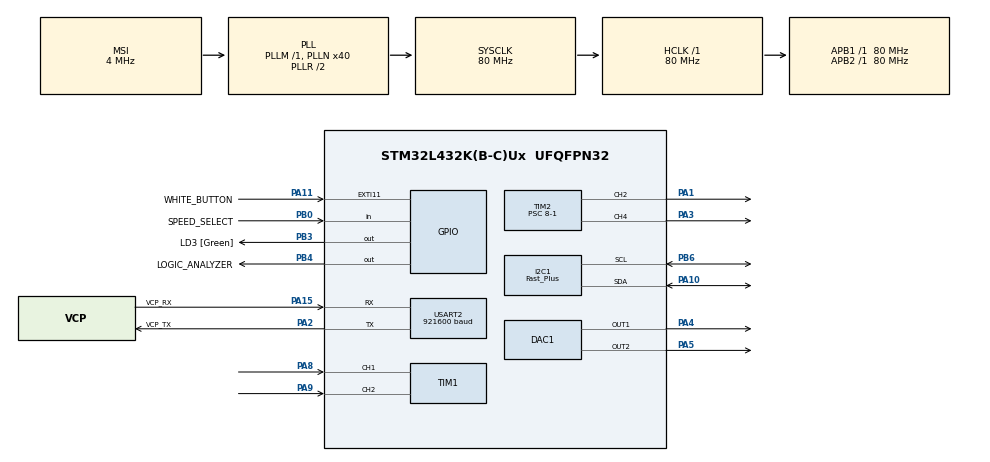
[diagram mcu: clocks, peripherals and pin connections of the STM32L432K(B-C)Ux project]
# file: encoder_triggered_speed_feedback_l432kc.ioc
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DAC1.DAC_Channel-DAC_OUT2=DAC_CHANNEL_2
I2C1.I2C_Speed_Mode=I2C_Fast_Plus
I2C1.Timing=0x00B10E24
Mcu.Family=STM32L4
Mcu.Name=STM32L432K(B-C)Ux
Mcu.Package=UFQFPN32
NVIC.EXTI15_10_IRQn=true\:1\:0\:true\:false\:true\:true\:true\:true
NVIC.PriorityGroup=NVIC_PRIORITYGROUP_4
NVIC.TIM1_BRK_TIM15_IRQn=true\:0\:0\:false\:false\:true\:true\:true\:true
NVIC.TIM1_CC_IRQn=true\:0\:0\:false\:false\:true\:true\:true\:true
NVIC.TIM6_DAC_IRQn=true\:1\:0\:true\:false\:true\:true\:true\:true
PA0.GPIO_Label=MCO [High speed clock in]
PA0.Mode=HSE-External-Clock-Source-for-LittleOrca
PA0.Signal=RCC_CK_IN
PA1.Signal=S_TIM2_CH2
PA10.Mode=I2C
PA10.Signal=I2C1_SDA
PA11.GPIO_Label=WHITE_BUTTON
PA11.GPIO_ModeDefaultEXTI=GPIO_MODE_IT_FALLING
PA11.GPIO_PuPd=GPIO_NOPULL
PA11.Signal=GPXTI11
PA13\ (JTMS-SWDIO).GPIO_Label=SWDIO
PA13\ (JTMS-SWDIO).Mode=Serial_Wire
PA13\ (JTMS-SWDIO).Signal=SYS_JTMS-SWDIO
PA14\ (JTCK-SWCLK).GPIO_Label=SWCLK
PA14\ (JTCK-SWCLK).Mode=Serial_Wire
PA14\ (JTCK-SWCLK).Signal=SYS_JTCK-SWCLK
PA15\ (JTDI).GPIO_Label=VCP_RX
PA15\ (JTDI).Mode=Asynchronous
PA15\ (JTDI).Signal=USART2_RX
PA2.GPIO_Label=VCP_TX
PA2.Mode=Asynchronous
PA2.Signal=USART2_TX
PA3.Signal=S_TIM2_CH4
PA4.Signal=COMP_DAC11_group
PA5.Signal=COMP_DAC12_group
PA8.Signal=S_TIM1_CH1
PA9.Signal=S_TIM1_CH2
PB0.GPIO_Label=SPEED_SELECT
PB0.GPIO_PuPd=GPIO_PULLUP
PB0.Signal=GPIO_Input
PB3\ (JTDO-TRACESWO).GPIO_Label=LD3 [Green]
PB3\ (JTDO-TRACESWO).Signal=GPIO_Output
PB4\ (NJTRST).GPIO_Label=LOGIC_ANALYZER
PB4\ (NJTRST).Signal=GPIO_Output
PB6.Mode=I2C
PB6.Signal=I2C1_SCL
PC14-OSC32_IN\ (PC14).Mode=LSE-External-Oscillator
PC14-OSC32_IN\ (PC14).Signal=RCC_OSC32_IN
PC15-OSC32_OUT\ (PC15).Mode=LSE-External-Oscillator
PC15-OSC32_OUT\ (PC15).Signal=RCC_OSC32_OUT
ProjectManager.HeapSize=0x200
ProjectManager.StackSize=0x400
ProjectManager.TargetToolchain=STM32CubeIDE
RCC.AHBFreq_Value=80000000
RCC.APB1Freq_Value=80000000
RCC.APB1TimFreq_Value=80000000
RCC.APB2Freq_Value=80000000
RCC.APB2TimFreq_Value=80000000
RCC.CortexFreq_Value=80000000
RCC.HCLKFreq_Value=80000000
RCC.HSE_VALUE=8000000
RCC.HSI16_VALUE=16000000
RCC.HSI48_VALUE=48000000
RCC.HSI_VALUE=16000000
RCC.MSI_VALUE=4000000
RCC.PLLMUL=RCC_PLLMUL_4
RCC.PLLN=40
RCC.SYSCLKFreq_VALUE=80000000
RCC.SYSCLKSource=RCC_SYSCLKSOURCE_PLLCLK
RCC.VCOOutputFreq_Value=160000000
SH.COMP_DAC11_group.0=DAC1_OUT1,DAC_OUT1
SH.COMP_DAC12_group.0=DAC1_OUT2,DAC_OUT2
SH.S_TIM1_CH1.0=TIM1_CH1,Encoder_Interface
SH.S_TIM1_CH2.0=TIM1_CH2,Encoder_Interface
SH.S_TIM2_CH2.0=TIM2_CH2,PWM Generation2 CH2
SH.S_TIM2_CH4.0=TIM2_CH4,PWM Generation4 CH4
TIM1.EncoderMode=TIM_ENCODERMODE_TI1
TIM1.IC1Filter=15
TIM1.IC1Polarity=TIM_ICPOLARITY_RISING
TIM1.IC2Filter=15
TIM1.IC2Polarity=TIM_ICPOLARITY_RISING
TIM1.TIM_MasterOutputTrigger=TIM_TRGO_OC1
TIM1.TIM_MasterOutputTrigger2=TIM_TRGO2_RESET
TIM1.TIM_MasterSlaveMode=TIM_MASTERSLAVEMODE_DISABLE
TIM15.Channel-Input_Capture1_from_TRC=TIM_CHANNEL_1
TIM15.Channel-Output\ Compare2\ No\ Output=TIM_CHANNEL_2
TIM15.Period=PULSE_TIMING_ARR
TIM15.Prescaler=80-1
TIM15.Pulse-Output\ Compare2\ No\ Output=PULSE_TIMING_ARR
TIM15.TIM_MasterSlaveMode=TIM_MASTERSLAVEMODE_DISABLE
TIM2.Channel-PWM\ Generation2\ CH2=TIM_CHANNEL_2
TIM2.Channel-PWM\ Generation4\ CH4=TIM_CHANNEL_4
TIM2.CounterMode=TIM_COUNTERMODE_CENTERALIGNED1
TIM2.OCMode_PWM-PWM\ Generation2\ CH2=TIM_OCMODE_PWM1
TIM2.OCMode_PWM-PWM\ Generation4\ CH4=TIM_OCMODE_PWM1
TIM2.Period=1000
TIM2.Prescaler=8-1
TIM2.Pulse-PWM\ Generation2\ CH2=500
TIM2.Pulse-PWM\ Generation4\ CH4=500
TIM6.Period=2000-1
TIM6.Prescaler=80-1
USART2.BaudRate=921600
USART2.VirtualMode-Asynchronous=VM_ASYNC
VP_TIM15_VS_CH1.Mode=Input_Capture1_from_TRC
VP_TIM15_VS_ClockSourceINT.Mode=Internal
VP_TIM15_VS_ClockSourceITR.Mode=TriggerSource_ITR0
VP_TIM15_VS_ControllerModeReset.Mode=Reset Mode
VP_TIM15_VS_no_output2.Mode=Output Compare2 No Output
VP_TIM2_VS_ClockSourceINT.Mode=Internal
VP_TIM6_VS_ClockSourceINT.Mode=Enable_Timer
board=NUCLEO-L432KC

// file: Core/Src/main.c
/* USER CODE BEGIN Header */
/**
 ******************************************************************************
 * @file           : main.c
 * @brief          : Main program body
 ******************************************************************************
 * @attention
 *
 * Copyright (c) 2026 STMicroelectronics.
 * All rights reserved.
 *
 * This software is licensed under terms that can be found in the LICENSE file
 * in the root directory of this software component.
 * If no LICENSE file comes with this software, it is provided AS-IS.
 *
 ******************************************************************************
 */
/* USER CODE END Header */
#include "main.h"
#include "dac.h"
#include "i2c.h"
#include "tim.h"
#include "usart.h"
#include "gpio.h"

/* USER CODE BEGIN Includes */
#include <stdio.h>
#include <stdlib.h>
#include <math.h>
#include "ssd1306.h"
#include "pid_controller.h"
/* USER CODE END Includes */

/* USER CODE BEGIN PD */

#define OLED_REFRESH_RATE 400 // ms
#define UPDATE_OLED 1

// https://sekigon-gonnoc.github.io/web-serial-plotter/
#define SERIAL_PLOTTER_REFRESH_RATE 5 // ms

#define SLAVE_TICKS_PER_SECOND 1000000
#define TICKS_PER_REVOLUTION 5  // Stabilus
//#define PULSE_TIMING_ARR (0xFFFF / CONTROL_UPDATE_DIV)  // see main.h

#define SAMPLING_TIME 0.002 // TIM6
#define TIME_CONSTANT_REF_SHAPE ( 0.03 * 2 )
#define BETA_COEFF_REF_SHAPE ( SAMPLING_TIME / TIME_CONSTANT_REF_SHAPE )

#define BETA_COEFF_DISPLAY ( SAMPLING_TIME / 0.1 )

#define PWM_ARR 1000
#define PWM_MID_CCR 500

#define PID_KP 0.5
#define PID_KI 10.0

#define PID_KD 0.0
#define PID_TAU 0.06
#define CONTROL_SIGNAL_MAX 500.0
#define CONTROL_SIGNAL_MIN -500.0
#define REF_SPEED_MAX 6001.0  // rpm
#define REF_SPEED_MIN -6001.0  // rpm
#define REF_SPEED_INCRENEMT 1000.0
#define ENC_PERIOD_NOM 2000.0

#define REF_PRESET_STEPS 10
#define REF_PRESET_STEP_LENGTH 2000  // ms

#define SMOOTHING_THRESHOLD 100

#define DO_SMOOTHING 0

#define DEBOUNCE_DIR_TIME 50  // ms

#ifdef __GNUC__
#define PUTCHAR_PROTOTYPE int __io_putchar(int ch)
#else
#define PUTCHAR_PROTOTYPE int fputc(int ch, FILE *f)
#endif /* __GNUC__ */

/* USER CODE END PD */

/* USER CODE BEGIN PV */

uint32_t softTimerOLED;
char lcd_line[32];

uint32_t softTimerUART;
float systick_time;  // for serial plotter

uint32_t softTimerDebounceDir;
GPIO_PinState button_state = GPIO_PIN_SET;

volatile uint32_t enc_period;
volatile uint32_t enc_period_table[4];
volatile double velocity_signed;
volatile double speed_unsigned;
volatile double velocity_filtered;
volatile double ref_speed;
volatile double ref_speed_shaped;
volatile double ref_speed_raw = 0;

volatile uint8_t smoothing_flag = 0;

volatile uint16_t pwm_ccr = PWM_MID_CCR;
volatile uint8_t up_down_dir = 0;
volatile uint32_t softTimerDebounceRef;

PID_t pid;
volatile int16_t control_signal;

uint32_t softTimerRefSTEPS;
volatile uint8_t preset_ref_sequence_flag = 1;
double preset_ref_sequence[REF_PRESET_STEPS] =
{ 0, 6000, -6000, 0, 4000, -4000, 0, -2000, 0, 2000 };
volatile uint8_t preset_idx = 0;

volatile uint16_t overflow_cnt = 0;
volatile uint16_t overflow_cnt_previous = 0;
volatile uint8_t overflow_flag = 0;

/* USER CODE END PV */

void SystemClock_Config(void);
/* USER CODE BEGIN PFP */

int8_t TIM_ReadEncDir(TIM_TypeDef *TIMx);

double LowPassFilter(double _in_lpf, double _beta_coeff);
double LowPassFilterRefStage1(double _in_lpf, double _beta_coef);
double LowPassFilterRefStage2(double _in_lpf, double _beta_coef);

PUTCHAR_PROTOTYPE
{
	HAL_UART_Transmit(&huart2, (uint8_t*) &ch, 1, HAL_MAX_DELAY);
	return ch;
}

/* USER CODE END PFP */

int main(void)
{

	/* MCU Configuration--------------------------------------------------------*/

	/* Reset of all peripherals, Initializes the Flash interface and the Systick. */
	HAL_Init();

	/* Configure the system clock */
	SystemClock_Config();

	/* Initialize all configured peripherals */
	MX_GPIO_Init();
	MX_USART2_UART_Init();
	MX_I2C1_Init();
	MX_TIM1_Init();
	MX_TIM15_Init();
	MX_TIM2_Init();
	MX_TIM6_Init();
	MX_DAC1_Init();
	/* USER CODE BEGIN 2 */

	HAL_TIM_Encoder_Start_IT(&htim1, TIM_CHANNEL_ALL);

	HAL_TIM_IC_Start_IT(&htim15, TIM_CHANNEL_1);  // pulse timing for encoder

	HAL_TIM_OC_Start_IT(&htim15, TIM_CHANNEL_2);  // zero speed detection

	HAL_TIM_Base_Start_IT(&htim6);  // digital filter pacing

	__HAL_TIM_SET_COMPARE(&htim2, TIM_CHANNEL_2, PWM_MID_CCR);
	HAL_TIM_PWM_Start(&htim2, TIM_CHANNEL_2);  // PWM_L
	__HAL_TIM_SET_COMPARE(&htim2, TIM_CHANNEL_4, PWM_ARR - PWM_MID_CCR);
	HAL_TIM_PWM_Start(&htim2, TIM_CHANNEL_4);  // PWM_R

	HAL_DAC_Start(&hdac1, DAC_CHANNEL_1);
	HAL_DAC_Start(&hdac1, DAC_CHANNEL_2);

	ssd1306_Init();
	ssd1306_Fill(Black);
	ssd1306_SetCursor(20, 2);
	ssd1306_WriteString("ufnalski.edu.pl", Font_6x8, White);
	ssd1306_SetCursor(16, 18);
	ssd1306_WriteString("Encoder triggered", Font_6x8, White);
	ssd1306_SetCursor(6, 34);
	ssd1306_WriteString("speed control system", Font_6x8, White);
	ssd1306_SetCursor(8, 50);
	ssd1306_WriteString("(Stabilus POWERISE)", Font_6x8, White);
	ssd1306_UpdateScreen();

	HAL_Delay(4000);

	softTimerOLED = HAL_GetTick();
	softTimerUART = HAL_GetTick();
	softTimerDebounceDir = HAL_GetTick();
	softTimerDebounceRef = HAL_GetTick();
	softTimerRefSTEPS = HAL_GetTick();

	PID_Init_Bartek_s_Lab(&pid, PID_KP, PID_KI, PID_KD, PID_TAU,
	CONTROL_SIGNAL_MIN, CONTROL_SIGNAL_MAX);

	/* USER CODE END 2 */

	/* Infinite loop */
	/* USER CODE BEGIN WHILE */
	while (1)
	{

		if (((HAL_GetTick() - softTimerRefSTEPS) > REF_PRESET_STEP_LENGTH)
				&& (preset_ref_sequence_flag == 1))
		{
			softTimerRefSTEPS = HAL_GetTick();

			preset_idx++;
			preset_idx %= REF_PRESET_STEPS;
			ref_speed_raw = preset_ref_sequence[preset_idx];
		}

		if ((HAL_GetTick() - softTimerUART) > SERIAL_PLOTTER_REFRESH_RATE)
		{
			softTimerUART = HAL_GetTick();

			// Web Serial Plotter (sekigon-gonnoc)
			// https://github.com/sekigon-gonnoc/web-serial-plotter
			systick_time = ((float) HAL_GetTick()) / 1000.0f;
			printf(
					"Systick_time:%.3f,Ref_speed_shaped:%.2f,Angular_speed:%.2f,Enc_period:%lu,Control_signal:%d,Smoothing_flag:%d, kP:%.3f, kI:%.3f\r\n",
					systick_time, ref_speed_shaped, velocity_signed, enc_period,
					-10 * control_signal, smoothing_flag, pid.kp, pid.ki);
		}

		if (((HAL_GetTick() - softTimerOLED) > OLED_REFRESH_RATE) && UPDATE_OLED)
		{
			softTimerOLED = HAL_GetTick();

			HAL_GPIO_TogglePin(LD3_GPIO_Port, LD3_Pin);

			ssd1306_Fill(Black);
			ssd1306_SetCursor(16, 0);
			ssd1306_WriteString("Encoder triggered", Font_6x8, White);

			ssd1306_SetCursor(6, 12);
			sprintf(lcd_line, "speed control system");
			ssd1306_WriteString(lcd_line, Font_6x8, White);

			ssd1306_SetCursor(5, 25);
			sprintf(lcd_line, "ENC_DIR = %i  ", TIM_ReadEncDir(TIM1));
			ssd1306_WriteString(lcd_line, Font_6x8, White);

			ssd1306_SetCursor(5, 35);
			sprintf(lcd_line, "T_PULSE = %lu", enc_period);

			ssd1306_WriteString(lcd_line, Font_6x8, White);

			ssd1306_SetCursor(5, 47);
			sprintf(lcd_line, "W = %.0f [rpm]/%d", velocity_signed, pwm_ccr);
			ssd1306_WriteString(lcd_line, Font_6x8, White);

			ssd1306_SetCursor(5, 56);
			sprintf(lcd_line, "W = %.2f [rpm x1000]",
					velocity_filtered / 1000.0);
			ssd1306_WriteString(lcd_line, Font_6x8, White);

			ssd1306_UpdateScreen();
		}
		/* USER CODE END WHILE */

	}
}

void SystemClock_Config(void)
{
	RCC_OscInitTypeDef RCC_OscInitStruct =
	{ 0 };
	RCC_ClkInitTypeDef RCC_ClkInitStruct =
	{ 0 };

	/** Configure the main internal regulator output voltage
	 */
	if (HAL_PWREx_ControlVoltageScaling(PWR_REGULATOR_VOLTAGE_SCALE1) != HAL_OK)
	{
		Error_Handler();
	}

	/** Configure LSE Drive Capability
	 */
	HAL_PWR_EnableBkUpAccess();
	__HAL_RCC_LSEDRIVE_CONFIG(RCC_LSEDRIVE_LOW);

	/** Initializes the RCC Oscillators according to the specified parameters
	 * in the RCC_OscInitTypeDef structure.
	 */
	RCC_OscInitStruct.OscillatorType = RCC_OSCILLATORTYPE_LSE
			| RCC_OSCILLATORTYPE_MSI;
	RCC_OscInitStruct.LSEState = RCC_LSE_ON;
	RCC_OscInitStruct.MSIState = RCC_MSI_ON;
	RCC_OscInitStruct.MSICalibrationValue = 0;
	RCC_OscInitStruct.MSIClockRange = RCC_MSIRANGE_6;
	RCC_OscInitStruct.PLL.PLLState = RCC_PLL_ON;
	RCC_OscInitStruct.PLL.PLLSource = RCC_PLLSOURCE_MSI;
	RCC_OscInitStruct.PLL.PLLM = 1;
	RCC_OscInitStruct.PLL.PLLN = 40;
	RCC_OscInitStruct.PLL.PLLP = RCC_PLLP_DIV7;
	RCC_OscInitStruct.PLL.PLLQ = RCC_PLLQ_DIV2;
	RCC_OscInitStruct.PLL.PLLR = RCC_PLLR_DIV2;
	if (HAL_RCC_OscConfig(&RCC_OscInitStruct) != HAL_OK)
	{
		Error_Handler();
	}

	/** Initializes the CPU, AHB and APB buses clocks
	 */
	RCC_ClkInitStruct.ClockType = RCC_CLOCKTYPE_HCLK | RCC_CLOCKTYPE_SYSCLK
			| RCC_CLOCKTYPE_PCLK1 | RCC_CLOCKTYPE_PCLK2;
	RCC_ClkInitStruct.SYSCLKSource = RCC_SYSCLKSOURCE_PLLCLK;
	RCC_ClkInitStruct.AHBCLKDivider = RCC_SYSCLK_DIV1;
	RCC_ClkInitStruct.APB1CLKDivider = RCC_HCLK_DIV1;
	RCC_ClkInitStruct.APB2CLKDivider = RCC_HCLK_DIV1;

	if (HAL_RCC_ClockConfig(&RCC_ClkInitStruct, FLASH_LATENCY_4) != HAL_OK)
	{
		Error_Handler();
	}

	/** Enable MSI Auto calibration
	 */
	HAL_RCCEx_EnableMSIPLLMode();
}

/* USER CODE BEGIN 4 */
void HAL_GPIO_EXTI_Callback(uint16_t GPIO_Pin)
{
	if ((GPIO_Pin == WHITE_BUTTON_Pin)
			&& (HAL_GetTick() - softTimerDebounceRef > 200))
	{
		preset_ref_sequence_flag = 0;
		softTimerDebounceRef = HAL_GetTick();
		if (up_down_dir == 0)
		{
			if (ref_speed_raw >= REF_SPEED_MIN + REF_SPEED_INCRENEMT)
			{
				ref_speed_raw -= REF_SPEED_INCRENEMT;
			}
			else
			{
				up_down_dir = 1;
			}
		}
		else
		{
			if (REF_SPEED_MAX - ref_speed_raw >= REF_SPEED_INCRENEMT)
			{
				ref_speed_raw += REF_SPEED_INCRENEMT;
			}
			else
			{
				up_down_dir = 0;
			}
		}

	}
}

int8_t TIM_ReadEncDir(TIM_TypeDef *TIMx)
{
	if (((TIMx->CR1) & (0x00000001 << 4)) == 0)  // DIR bit
	{
		return 1;
	}
	else
	{
		return -1;
	}
}

void HAL_TIM_IC_CaptureCallback(TIM_HandleTypeDef *htim)
{
	if (htim->Instance == TIM15)
	{
		HAL_GPIO_TogglePin(LOGIC_ANALYZER_GPIO_Port, LOGIC_ANALYZER_Pin);
		enc_period = TIM15->CCR1 + (PULSE_TIMING_ARR * overflow_cnt);
		overflow_flag = (overflow_cnt != 0);
		overflow_cnt_previous = overflow_cnt;
		overflow_cnt = 0;

		enc_period_table[3] = enc_period_table[2];
		enc_period_table[2] = enc_period_table[1];
		enc_period_table[1] = enc_period_table[0];
		enc_period_table[0] = enc_period;

		if (abs(
				(int32_t) enc_period
						- (int32_t) (enc_period_table[1]))< SMOOTHING_THRESHOLD)
		{
			smoothing_flag = 1;
		}
		else
		{
			smoothing_flag = 0;
		}

		if ((smoothing_flag == 1) && (DO_SMOOTHING))
		{
			speed_unsigned = (double) SLAVE_TICKS_PER_SECOND
					/ (double) TICKS_PER_REVOLUTION
					/ (((double) enc_period_table[0]
							+ (double) enc_period_table[1]
							+ (double) enc_period_table[2]
							+ (double) enc_period_table[3]) / 4.0) * 60.0;
		}
		else
		{
			speed_unsigned = (double) SLAVE_TICKS_PER_SECOND
					/ (double) TICKS_PER_REVOLUTION / (double) enc_period
					* 60.0;
		}

		velocity_signed = ((double) TIM_ReadEncDir(TIM1)) * speed_unsigned;

		if (overflow_flag == 0)
		{
			PI_Adapt_Bartek_s_Lab(&pid,
			PID_KP * ENC_PERIOD_NOM / (double) enc_period,
					PID_KI * ENC_PERIOD_NOM * ENC_PERIOD_NOM
							/ (double) enc_period / (double) enc_period);
		}
		else
		{
			PI_Adapt_Bartek_s_Lab(&pid,
			PID_KP * (double) ENC_PERIOD_NOM / (double) PULSE_TIMING_ARR,
					PID_KI * (double) ENC_PERIOD_NOM * (double) ENC_PERIOD_NOM
							/ (double) PULSE_TIMING_ARR
							/ (double) PULSE_TIMING_ARR);
		}

		control_signal = (int16_t) PID_Controller_Bartek_s_Lab(&pid,
				ref_speed_shaped, velocity_signed,
				(double) enc_period / (double) SLAVE_TICKS_PER_SECOND);
		pwm_ccr = control_signal + 500;

//		HAL_DAC_SetValue(&hdac1, DAC_CHANNEL_1, DAC_ALIGN_12B_R, pwm_ccr * 4);
//		HAL_DAC_SetValue(&hdac1, DAC_CHANNEL_2, DAC_ALIGN_12B_R,
//				speed_unsigned / 2);

		__HAL_TIM_SET_COMPARE(&htim2, TIM_CHANNEL_2, pwm_ccr);
		__HAL_TIM_SET_COMPARE(&htim2, TIM_CHANNEL_4, PWM_ARR - pwm_ccr);
	}
}

void HAL_TIM_OC_DelayElapsedCallback(TIM_HandleTypeDef *htim)
{
	if (htim->Instance == TIM15)
	{

		overflow_cnt++;
		if (overflow_cnt_previous < overflow_cnt)
		{
			enc_period = PULSE_TIMING_ARR * overflow_cnt;
		}

		speed_unsigned = (double) SLAVE_TICKS_PER_SECOND
				/ (double) TICKS_PER_REVOLUTION / enc_period * 60.0;

		velocity_signed = ((double) TIM_ReadEncDir(TIM1)) * speed_unsigned;

//		enc_period_table[3] = enc_period_table[2];
//		enc_period_table[2] = enc_period_table[1];
//		enc_period_table[1] = enc_period_table[0];
//		enc_period_table[0] = enc_period;

		PI_Adapt_Bartek_s_Lab(&pid,
		PID_KP * (double) ENC_PERIOD_NOM / (double) PULSE_TIMING_ARR,
				PID_KI * (double) ENC_PERIOD_NOM * (double) ENC_PERIOD_NOM
						/ (double) PULSE_TIMING_ARR / (double) PULSE_TIMING_ARR);

		control_signal = (int16_t) PID_Controller_Bartek_s_Lab(&pid,
				ref_speed_shaped, velocity_signed,
				(double) PULSE_TIMING_ARR / (double) SLAVE_TICKS_PER_SECOND);
		pwm_ccr = control_signal + 500;

		HAL_DAC_SetValue(&hdac1, DAC_CHANNEL_1, DAC_ALIGN_12B_R, pwm_ccr * 4);
		HAL_DAC_SetValue(&hdac1, DAC_CHANNEL_2, DAC_ALIGN_12B_R,
				speed_unsigned / 2);

		__HAL_TIM_SET_COMPARE(&htim2, TIM_CHANNEL_2, pwm_ccr);
		__HAL_TIM_SET_COMPARE(&htim2, TIM_CHANNEL_4, PWM_ARR - pwm_ccr);
	}
}

double LowPassFilterRefStage1(double _in_lpf, double _beta_coeff)
{
	static double out_lpf = 0;
	if ((_in_lpf == INFINITY) || (_in_lpf == -INFINITY))
	{
		_in_lpf = 0;
	}
	out_lpf = _in_lpf * _beta_coeff + out_lpf * (1 - _beta_coeff);
	return out_lpf;
}

double LowPassFilterRefStage2(double _in_lpf, double _beta_coeff)
{
	static double out_lpf = 0;
	if ((_in_lpf == INFINITY) || (_in_lpf == -INFINITY))
	{
		_in_lpf = 0;
	}
	out_lpf = _in_lpf * _beta_coeff + out_lpf * (1 - _beta_coeff);
	return out_lpf;
}

double LowPassFilter(double _in_lpf, double _beta_coeff)
{
	static double out_lpf = 0;
	if ((_in_lpf == INFINITY) || (_in_lpf == -INFINITY))
	{
		_in_lpf = 0;
	}
	out_lpf = _in_lpf * _beta_coeff + out_lpf * (1 - _beta_coeff);
	return out_lpf;
}

void HAL_TIM_PeriodElapsedCallback(TIM_HandleTypeDef *htim)
{
	if (htim->Instance == TIM6)
	{
		velocity_filtered = LowPassFilter(velocity_signed, BETA_COEFF_DISPLAY); // just for OLED display

		if ((HAL_GetTick() - softTimerDebounceDir) > DEBOUNCE_DIR_TIME)
		{
			softTimerDebounceDir = HAL_GetTick();
			GPIO_PinState button_state_new = HAL_GPIO_ReadPin(
			SPEED_SELECT_GPIO_Port, SPEED_SELECT_Pin);
			if ((button_state_new == GPIO_PIN_SET) && (button_state =
					GPIO_PIN_SET))
			{
				ref_speed = ref_speed_raw;
			}
			else
			{
				ref_speed = -ref_speed_raw;
			}
			button_state = button_state_new;
		}

		ref_speed_shaped = LowPassFilterRefStage1(ref_speed,
		BETA_COEFF_REF_SHAPE);
		ref_speed_shaped = LowPassFilterRefStage2(ref_speed_shaped,
		BETA_COEFF_REF_SHAPE);
	}
}
/* USER CODE END 4 */

void Error_Handler(void)
{
	__disable_irq();
	while (1)
	{
	}
}
